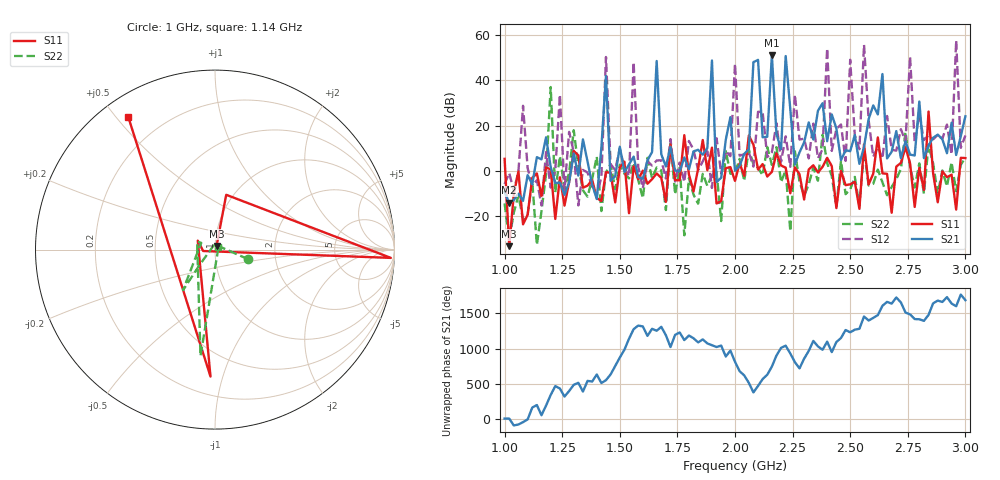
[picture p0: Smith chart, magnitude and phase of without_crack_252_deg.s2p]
# MHz S MA R 50
!  freq  S11  S21  S12  S22
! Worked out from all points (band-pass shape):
!   101 points, 1 GHz to 3 GHz, reference 50 ohm
!   highest |S21| = 51.13 dB at 2.16 GHz (marker M1); lowest = -14.0 dB at 1.02 GHz (marker M2)
!   |S21| within 3 dB of the highest: 1.659757 GHz to 1.660237 GHz (479.7 kHz wide, 0.0289 % of centre); 1.899633 GHz to 1.900264 GHz (630.8 kHz wide, 0.0332 % of centre) (the widest 2 of 5)
!   lowest |S11| = -33.2 dB at 1.02 GHz (marker M3), VSWR 1.04, Z = 50.8 + j2.04 ohm
!   |S11| at or under -10 dB: 1.008 GHz to 1.04 GHz (32.29 MHz wide, 3.15 % of centre); 1.068 GHz to 1.111 GHz (43.02 MHz wide, 3.95 % of centre); 1.395 GHz to 1.425 GHz (29.92 MHz wide, 2.12 % of centre) (the widest 3 of 17)
!   |S22| runs from -32.7 to 37.1 dB; largest |S21 - S12| = 7.7e+02
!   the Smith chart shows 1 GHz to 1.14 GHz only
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1000  1.854 108.4  0.3416 2.0  0.5147 -175.2  0.1923 -16.2
1020  0.02184 66.5  0.1991 1.2  0.8996 171.0  0.0298 95.0
1340  0.428 105.8  5.003 26.4  1.058 132.8  0.3755 92.3
1680  0.7041 90.7  2.348 -131.3  1.726 -169.5  1.037 159.8
2000  0.6052 145.0  1.023 91.5  235.3 -3.9  0.8999 102.1
2160  0.9556 89.3  360 22.1  2.595 178.3  1.366 49.6
2180  2.466 71.2  6.533 -179.8  11.39 44.0  3.367 71.0
2220  1.182 -120.2  346.4 -39.6  5.827 -120.9  1.055 -102.5
2340  1.341 51.3  4.963 28.1  11.14 67.5  1.193 54.7
2380  1.234 71.8  31.42 -98.4  3.012 87.1  6.313 -117.5
2400  1.956 81.7  4.559 18.0  515.4 -112.4  1.505 54.1
2420  1.285 55.5  17.76 -131.1  2.785 -114.8  0.7716 48.6
2540  0.1458 143.9  1.44 -159.1  3.039 34.6  0.1696 136.2
2560  3.866 147.4  3.411 15.8  618.9 -126.3  2.853 -172.2
2580  0.5047 80.8  14.03 -41.5  13.39 -92.3  0.4798 83.0
2680  0.1195 -57.7  2.667 -160.7  2.951 -150.1  0.4422 26.2
2760  1.466 175.2  2.304 45.5  333.2 91.3  1.231 176.6
2780  0.1609 130.4  2.199 -20.9  4.177 -14.6  0.4318 77.9
2940  0.8305 2.5  11.66 -159.3  2.327 21.0  1.559 -7.2
2960  0.1406 -3.0  2.261 161.8  766.7 72.7  0.3577 40.6
2980  1.959 101.4  5.895 -31.4  3.253 -179.1  1.371 102.4
3000  1.931 -57.6  16.2 -112.0  6.099 -75.0  1.972 -55.6
